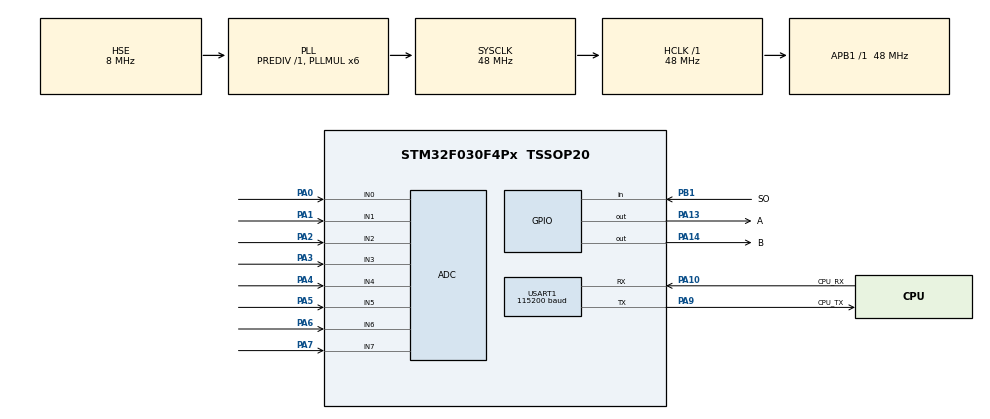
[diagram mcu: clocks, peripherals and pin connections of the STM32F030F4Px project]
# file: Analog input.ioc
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ADC.ClockPrescaler=ADC_CLOCK_ASYNC_DIV1
ADC.ContinuousConvMode=ENABLE
ADC.DMAContinuousRequests=ENABLE
ADC.SamplingTime=ADC_SAMPLETIME_55CYCLES_5
ADC.ScanConvMode=ADC_SCAN_DIRECTION_FORWARD
Dma.ADC.2.Direction=DMA_PERIPH_TO_MEMORY
Dma.ADC.2.Instance=DMA1_Channel1
Dma.ADC.2.MemDataAlignment=DMA_MDATAALIGN_HALFWORD
Dma.ADC.2.MemInc=DMA_MINC_ENABLE
Dma.ADC.2.Mode=DMA_CIRCULAR
Dma.ADC.2.PeriphDataAlignment=DMA_PDATAALIGN_HALFWORD
Dma.ADC.2.PeriphInc=DMA_PINC_DISABLE
Dma.ADC.2.Priority=DMA_PRIORITY_VERY_HIGH
Dma.Request0=USART1_TX
Dma.Request1=USART1_RX
Dma.Request2=ADC
Dma.USART1_RX.1.Direction=DMA_PERIPH_TO_MEMORY
Dma.USART1_RX.1.Instance=DMA1_Channel3
Dma.USART1_RX.1.MemDataAlignment=DMA_MDATAALIGN_BYTE
Dma.USART1_RX.1.MemInc=DMA_MINC_ENABLE
Dma.USART1_RX.1.Mode=DMA_NORMAL
Dma.USART1_RX.1.PeriphDataAlignment=DMA_PDATAALIGN_BYTE
Dma.USART1_RX.1.PeriphInc=DMA_PINC_DISABLE
Dma.USART1_RX.1.Priority=DMA_PRIORITY_HIGH
Dma.USART1_TX.0.Direction=DMA_MEMORY_TO_PERIPH
Dma.USART1_TX.0.Instance=DMA1_Channel2
Dma.USART1_TX.0.MemDataAlignment=DMA_MDATAALIGN_BYTE
Dma.USART1_TX.0.MemInc=DMA_MINC_ENABLE
Dma.USART1_TX.0.Mode=DMA_NORMAL
Dma.USART1_TX.0.PeriphDataAlignment=DMA_PDATAALIGN_BYTE
Dma.USART1_TX.0.PeriphInc=DMA_PINC_DISABLE
Dma.USART1_TX.0.Priority=DMA_PRIORITY_MEDIUM
Mcu.Family=STM32F0
Mcu.Name=STM32F030F4Px
Mcu.Package=TSSOP20
NVIC.DMA1_Channel1_IRQn=true\:0\:0\:false\:false\:true\:false\:true\:true
NVIC.DMA1_Channel2_3_IRQn=true\:0\:0\:false\:false\:true\:false\:true\:true
NVIC.TIM1_BRK_UP_TRG_COM_IRQn=true\:0\:0\:false\:false\:true\:true\:true\:true
NVIC.USART1_IRQn=true\:0\:0\:false\:false\:true\:true\:true\:true
PA0.Mode=IN0
PA0.Signal=ADC_IN0
PA1.Mode=IN1
PA1.Signal=ADC_IN1
PA10.GPIO_Label=CPU_RX
PA10.Mode=Asynchronous
PA10.Signal=USART1_RX
PA13.GPIO_Label=A
PA13.GPIO_PuPd=GPIO_PULLUP
PA13.GPIO_Speed=GPIO_SPEED_FREQ_HIGH
PA13.PinState=GPIO_PIN_SET
PA13.Signal=GPIO_Output
PA14.GPIO_Label=B
PA14.GPIO_PuPd=GPIO_PULLUP
PA14.GPIO_Speed=GPIO_SPEED_FREQ_HIGH
PA14.PinState=GPIO_PIN_SET
PA14.Signal=GPIO_Output
PA2.Mode=IN2
PA2.Signal=ADC_IN2
PA3.Mode=IN3
PA3.Signal=ADC_IN3
PA4.Mode=IN4
PA4.Signal=ADC_IN4
PA5.Mode=IN5
PA5.Signal=ADC_IN5
PA6.Mode=IN6
PA6.Signal=ADC_IN6
PA7.Mode=IN7
PA7.Signal=ADC_IN7
PA9.GPIO_Label=CPU_TX
PA9.Mode=Asynchronous
PA9.Signal=USART1_TX
PB1.GPIO_Label=SO
PB1.GPIO_PuPd=GPIO_PULLUP
PB1.Signal=GPIO_Input
PF0-OSC_IN.Mode=HSE-External-Oscillator
PF0-OSC_IN.Signal=RCC_OSC_IN
PF1-OSC_OUT.Mode=HSE-External-Oscillator
PF1-OSC_OUT.Signal=RCC_OSC_OUT
ProjectManager.HeapSize=0x200
ProjectManager.StackSize=0x400
ProjectManager.TargetToolchain=MDK-ARM V5.27
RCC.AHBFreq_Value=48000000
RCC.APB1Freq_Value=48000000
RCC.APB1TimFreq_Value=48000000
RCC.FLatency=FLASH_LATENCY_1
RCC.HCLKFreq_Value=48000000
RCC.PLLMUL=RCC_PLL_MUL6
RCC.PLLSourceVirtual=RCC_PLLSOURCE_HSE
RCC.SYSCLKFreq_VALUE=48000000
RCC.SYSCLKSource=RCC_SYSCLKSOURCE_PLLCLK
TIM1.AutoReloadPreload=TIM_AUTORELOAD_PRELOAD_ENABLE
TIM1.ClockDivision=TIM_CLOCKDIVISION_DIV1
TIM1.CounterMode=TIM_COUNTERMODE_UP
TIM1.Period=1000
TIM1.Prescaler=480-1
TIM1.RepetitionCounter=0
TIM1.TIM_MasterOutputTrigger=TIM_TRGO_RESET
TIM1.TIM_MasterSlaveMode=TIM_MASTERSLAVEMODE_DISABLE
USART1.AutoBaudRateEnableParam=UART_ADVFEATURE_AUTOBAUDRATE_DISABLE
USART1.BaudRate=115200
USART1.DMADisableonRxErrorParam=ADVFEATURE_DMA_ENABLEONRXERROR
USART1.DataInvertParam=ADVFEATURE_DATAINV_DISABLE
USART1.MSBFirstParam=ADVFEATURE_MSBFIRST_DISABLE
USART1.Mode=MODE_TX_RX
USART1.OneBitSampling=UART_ONE_BIT_SAMPLE_DISABLE
USART1.OverSampling=UART_OVERSAMPLING_16
USART1.OverrunDisableParam=ADVFEATURE_OVERRUN_ENABLE
USART1.Parity=PARITY_NONE
USART1.RxPinLevelInvertParam=ADVFEATURE_RXINV_DISABLE
USART1.StopBits=STOPBITS_1
USART1.SwapParam=ADVFEATURE_SWAP_DISABLE
USART1.TxPinLevelInvertParam=ADVFEATURE_TXINV_DISABLE
USART1.VirtualMode-Asynchronous=VM_ASYNC
USART1.WordLength=WORDLENGTH_8B
VP_TIM1_VS_ClockSourceINT.Mode=Internal
board=custom

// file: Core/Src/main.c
/* USER CODE BEGIN Header */
/**
 ******************************************************************************
 * @file           : main.c
 * @brief          : Main program body
 ******************************************************************************
 * @attention
 *
 * <h2><center>&copy; Copyright (c) 2022 STMicroelectronics.
 * All rights reserved.</center></h2>
 *
 * This software component is licensed by ST under BSD 3-Clause license,
 * the "License"; You may not use this file except in compliance with the
 * License. You may obtain a copy of the License at:
 *                        opensource.org/licenses/BSD-3-Clause
 *
 ******************************************************************************
 */
/* USER CODE END Header */
#include "main.h"
#include "adc.h"
#include "dma.h"
#include "tim.h"
#include "usart.h"
#include "gpio.h"

/* USER CODE BEGIN Includes */
#include "tool.h"
#include "Modbus.h"
#include "io_signal.h"
/* USER CODE END Includes */

/* USER CODE BEGIN PTD */
static void TIRQ_Handle(void)
{
  /*Interrupt signal generation*/
  static IRQ_Type irq = DisEnable;
  pModbusHandle pd = Modbus_Object;

  if (pd->Slave.pHandle)
  { /*The board model is read or the corresponding interrupt processing request is responded*/
    if (*(bool *)pd->Slave.pHandle)
    {
      irq = DisEnable;
    }
    else
    {
      irq ^= DisEnable;
    }
    IRQ_Handle(irq);
  }
}

static void Debug_Handle(void)
{
#if defined(USING_DEBUG)
  // Debug("\x55\x55");
  //  Debug("Hello word!\r\n");
  // Debug("rxbuf_size = %d,count = %d.\r\n", Modbus_Object->Slave.RxSize, Modbus_Object->Slave.RxCount);
  // for (uint8_t i = 0; i < Modbus_Object->Slave.RxCount; i++)
  // {
  //   Debug("prbuf[%d] = 0x%X\r\n", i, Modbus_Object->Slave.pRbuf[i]);
  // }
  /*?��???????*/
  // static IRQ_Type irq = DisEnable;
  // irq ^= DisEnable;
  // IRQ_Handle(irq);
#endif
}

SoftTimer timer_map[] = {
    {.counter = 0U, .enable = true, .execute_flag = false, .event = TIRQ_Handle, .target_counter = 10U},
#if defined(USING_DEBUG)
    {.counter = 0U, .enable = true, .execute_flag = false, .event = Debug_Handle, .target_counter = 100U},
    {.counter = 0U, .enable = true, .execute_flag = false, .event = Read_Analog_Io, .target_counter = 100U}
#else
    {.counter = 0U, .enable = true, .execute_flag = false, .event = Modbus_Handle, .target_counter = 1U},
    {.counter = 0U, .enable = true, .execute_flag = false, .event = Read_Analog_Io, .target_counter = 20U},
#endif
    //    {.counter = 0U, .enable = true, .execute_flag = false, .event = Debug_Handle, .target_counter = 100U},
};
Timer_HandleTypeDef stimer = {
    .pmap = timer_map,
    .numbers = sizeof(timer_map) / sizeof(SoftTimer),
};
/* USER CODE END PTD */

void SystemClock_Config(void);

int main(void)
{

  /* MCU Configuration--------------------------------------------------------*/

  /* Reset of all peripherals, Initializes the Flash interface and the Systick. */
  HAL_Init();

  /* USER CODE BEGIN Init */
#if defined(USING_DEBUG)
  HAL_Delay(5000);
#endif
  /* USER CODE END Init */

  /* Configure the system clock */
  SystemClock_Config();

  /* Initialize all configured peripherals */
  MX_GPIO_Init();
  MX_DMA_Init();
  MX_USART1_UART_Init();
  MX_TIM1_Init();
  MX_ADC_Init();
  /* USER CODE BEGIN 2 */
  HAL_ADC_Start_DMA(&hadc, (uint32_t *)Adc_buffer, ADC_DMA_SIZE);
  HAL_TIM_Base_Start_IT(&htim1);
  ptimer = &stimer;
  MX_ModbusInit();
  if (Modbus_Object)
  {
    __HAL_UART_ENABLE_IT(Modbus_Object->huart, UART_IT_IDLE);
    /*DMA buffer must point to an entity address!!!*/
    HAL_UART_Receive_DMA(Modbus_Object->huart, Modbus_Object->Slave.pRbuf, Modbus_Object->Slave.RxSize);
    Modbus_Object->Slave.RxCount = 0U;
  }
  /* USER CODE END 2 */

  /* Infinite loop */
  while (1)
  {

    /* USER CODE BEGIN 3 */
    Timer_Handle();
  }
  /* USER CODE END 3 */
}

void SystemClock_Config(void)
{
  RCC_OscInitTypeDef RCC_OscInitStruct = {0};
  RCC_ClkInitTypeDef RCC_ClkInitStruct = {0};
  RCC_PeriphCLKInitTypeDef PeriphClkInit = {0};

  /** Initializes the RCC Oscillators according to the specified parameters
   * in the RCC_OscInitTypeDef structure.
   */
  RCC_OscInitStruct.OscillatorType = RCC_OSCILLATORTYPE_HSI14 | RCC_OSCILLATORTYPE_HSE;
  RCC_OscInitStruct.HSEState = RCC_HSE_ON;
  RCC_OscInitStruct.HSI14State = RCC_HSI14_ON;
  RCC_OscInitStruct.HSI14CalibrationValue = 16;
  RCC_OscInitStruct.PLL.PLLState = RCC_PLL_ON;
  RCC_OscInitStruct.PLL.PLLSource = RCC_PLLSOURCE_HSE;
  RCC_OscInitStruct.PLL.PLLMUL = RCC_PLL_MUL6;
  RCC_OscInitStruct.PLL.PREDIV = RCC_PREDIV_DIV1;
  if (HAL_RCC_OscConfig(&RCC_OscInitStruct) != HAL_OK)
  {
    Error_Handler();
  }

  /** Initializes the CPU, AHB and APB buses clocks
   */
  RCC_ClkInitStruct.ClockType = RCC_CLOCKTYPE_HCLK | RCC_CLOCKTYPE_SYSCLK | RCC_CLOCKTYPE_PCLK1;
  RCC_ClkInitStruct.SYSCLKSource = RCC_SYSCLKSOURCE_PLLCLK;
  RCC_ClkInitStruct.AHBCLKDivider = RCC_SYSCLK_DIV1;
  RCC_ClkInitStruct.APB1CLKDivider = RCC_HCLK_DIV1;

  if (HAL_RCC_ClockConfig(&RCC_ClkInitStruct, FLASH_LATENCY_1) != HAL_OK)
  {
    Error_Handler();
  }
  PeriphClkInit.PeriphClockSelection = RCC_PERIPHCLK_USART1;
  PeriphClkInit.Usart1ClockSelection = RCC_USART1CLKSOURCE_PCLK1;
  if (HAL_RCCEx_PeriphCLKConfig(&PeriphClkInit) != HAL_OK)
  {
    Error_Handler();
  }
}

void Error_Handler(void)
{
  __disable_irq();
  while (1)
  {
  }
}
